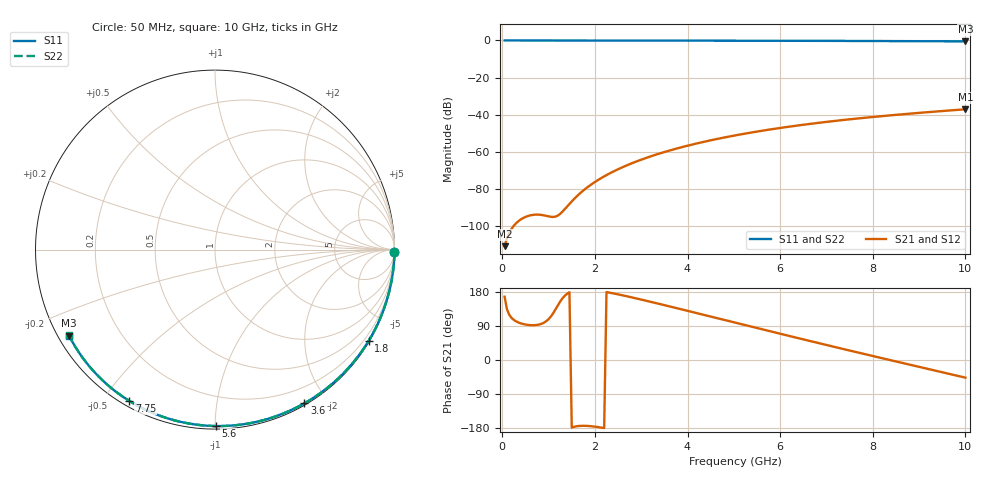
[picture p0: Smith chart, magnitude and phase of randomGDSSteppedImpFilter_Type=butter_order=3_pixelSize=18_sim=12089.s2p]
! freq	dB(S11)	phase(S11)	dB(S12)	phase(S12)
!  dB(S21)	phase(S21)	dB(S22)	phase(S22)
!S-par simulation data
#  GHz  S  DB  R 50
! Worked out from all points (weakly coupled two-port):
!   200 points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, 50 MHz to 10 GHz, reference 50 ohm
!   highest |S21| = -37.02 dB at 10 GHz (marker M1); lowest = -110.6 dB at 50 MHz (marker M2)
!   lowest |S11| = -0.5 dB at 10 GHz (marker M3), VSWR 34.67, Z = 1.55 - j13.6 ohm
!   |S11| at or under -10 dB: nowhere
!   |S22| runs from -0.5 to 0.0 dB; largest |S21 - S12| = 0
!   S11 on the Smith chart (normalised r, x): 50 MHz: open; 1.8 GHz: 0.03, -3.64; 3.6 GHz: 0.02, -1.74; 5.6 GHz: 0.02, -1.00; 7.75 GHz: 0.02, -0.58; 10 GHz: 0.03, -0.27
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0.05  -0.00 -0.9  -110.64 167.0  -110.64 167.0  -0.00 -0.9
0.45  -0.01 -7.8  -95.51 95.0  -95.51 95.0  -0.01 -7.8
0.9  -0.02 -15.5  -94.06 98.5  -94.06 98.5  -0.02 -15.5
1.3  -0.03 -22.3  -92.04 162.8  -92.04 162.8  -0.03 -22.3
1.75  -0.04 -29.9  -80.69 -173.6  -80.69 -173.6  -0.04 -29.9
1.8  -0.04 -30.7  -79.69 -173.7  -79.69 -173.7  -0.04 -30.7
1.95  -0.04 -33.2  -76.96 -175.1  -76.96 -175.1  -0.04 -33.2
2.1  -0.05 -35.7  -74.56 -177.6  -74.56 -177.6  -0.05 -35.7
2.3  -0.05 -39.0  -71.74 178.2  -71.74 178.2  -0.05 -39.0
2.5  -0.05 -42.3  -69.26 173.2  -69.26 173.2  -0.05 -42.2
2.9  -0.06 -48.7  -65.05 162.3  -65.05 162.3  -0.06 -48.7
3.4  -0.07 -56.7  -60.76 147.8  -60.76 147.8  -0.07 -56.7
3.6  -0.08 -59.8  -59.28 141.8  -59.28 141.8  -0.08 -59.8
4.3  -0.10 -70.6  -54.81 120.7  -54.81 120.7  -0.10 -70.6
5.05  -0.13 -81.8  -50.96 98.0  -50.96 98.0  -0.13 -81.8
5.6  -0.15 -89.8  -48.59 81.3  -48.59 81.3  -0.15 -89.8
6.15  -0.17 -97.6  -46.52 64.8  -46.52 64.8  -0.17 -97.6
6.7  -0.20 -105.3  -44.70 48.4  -44.70 48.4  -0.20 -105.3
7.75  -0.28 -119.5  -41.77 17.7  -41.77 17.7  -0.28 -119.5
8.35  -0.33 -127.5  -40.35 0.5  -40.35 0.5  -0.33 -127.5
9.2  -0.41 -138.8  -38.54 -23.7  -38.54 -23.7  -0.41 -138.8
10  -0.50 -149.5  -37.02 -46.6  -37.02 -46.6  -0.50 -149.5
